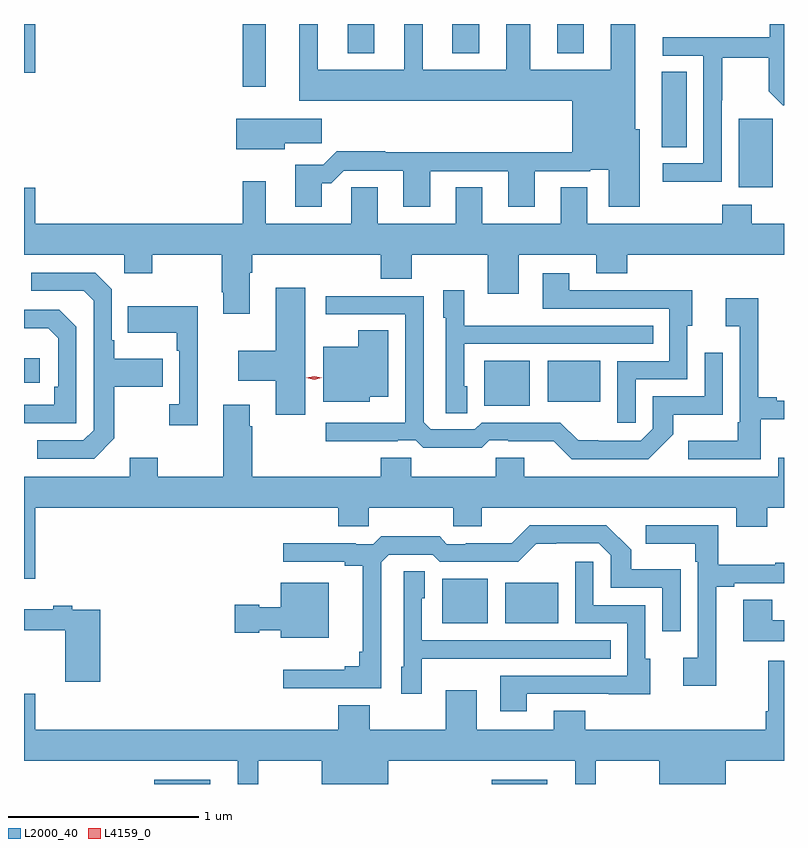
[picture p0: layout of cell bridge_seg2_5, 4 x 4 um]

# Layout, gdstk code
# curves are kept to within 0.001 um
import gdstk
lib = gdstk.Library(unit=1e-6, precision=1e-09)
def R(c, l, rs):  # rectangles x0, y0, x1, y1
    for r in rs: c.add(gdstk.rectangle(r[:2], r[2:], *l))
def A(c, l, x, y, w, h, nx, ny, dx, dy):  # array of equal rectangles
    R(c, l, [(x+i*dx, y+j*dy, x+i*dx+w, y+j*dy+h) for i in range(nx) for j in range(ny)])
def P(c, l, *ps):  # polygons
    for p in ps: c.add(gdstk.Polygon(p, *l))
L2000_40 = (2000, 40)
L4159_0 = (4159, 0)

bridge_seg2_5 = lib.new_cell('bridge_seg2_5')
A(bridge_seg2_5, L2000_40, 730.253, 663.347, 0.14, 0.155, 3, 1, 0.552, 0)
R(bridge_seg2_5, L2000_40, [(729.236,659.502,729.529,659.524), (731.012,659.502,731.305,659.524), (730.751,660.347,730.99,660.583), (731.084,660.347,731.362,660.562), (730.973,661.493,731.212,661.729), (731.306,661.514,731.584,661.729), (728.55,661.614,728.632,661.744), (732.311,662.642,732.49,663.003), (731.906,662.854,732.037,663.251), (729.702,663.171,729.823,663.502), (728.55,663.246,728.608,663.502)])
P(bridge_seg2_5, L2000_40, [(732.222,663.1),(732.225,663.1),(732.225,663.324),(732.469,663.324),(732.469,663.149),(732.546,663.072),(732.549,663.075),(732.55,663.074),(732.55,663.502),(732.474,663.502),(732.474,663.432),(731.913,663.432),(731.913,663.336),(732.126,663.336),(732.126,662.769),(731.913,662.769),(731.913,662.671),(732.222,662.671)],
  [(730.117,662.663),(730.166,662.663),(730.233,662.73),(730.547,662.73),(730.547,662.541),(730.687,662.541),(730.687,662.727),(731.099,662.727),(731.099,662.541),(731.239,662.541),(731.239,662.727),(731.531,662.727),(731.531,662.734),(731.627,662.734),(731.627,662.541),(731.791,662.541),(731.791,662.949),(731.767,662.949),(731.767,663.502),(731.639,663.502),(731.639,663.262),(731.215,663.262),(731.215,663.502),(731.087,663.502),(731.087,663.262),(730.648,663.262),(730.648,663.502),(730.55,663.502),(730.55,663.262),(730.096,663.262),(730.096,663.502),(729.998,663.502),(729.998,663.098),(731.435,663.098),(731.435,662.828),(730.451,662.828),(730.451,662.831),(730.196,662.831),(730.126,662.761),(729.977,662.761),(729.977,662.541),(730.117,662.541)],
  [(729.922,662.875),(730.117,662.875),(730.117,663.004),(729.668,663.004),(729.668,662.843),(729.922,662.843)],
  [(729.739,662.192),(729.752,662.192),(729.752,662.288),(730.427,662.288),(730.427,662.16),(730.591,662.16),(730.591,662.288),(730.991,662.288),(730.991,662.082),(731.155,662.082),(731.155,662.288),(731.561,662.288),(731.561,662.189),(731.725,662.189),(731.725,662.288),(732.55,662.288),(732.55,662.452),(732.381,662.452),(732.381,662.551),(732.226,662.551),(732.226,662.452),(731.515,662.452),(731.515,662.642),(731.375,662.642),(731.375,662.452),(730.963,662.452),(730.963,662.642),(730.823,662.642),(730.823,662.452),(730.411,662.452),(730.411,662.642),(730.272,662.642),(730.272,662.452),(729.823,662.452),(729.823,662.674),(729.702,662.674),(729.702,662.452),(728.608,662.452),(728.608,662.641),(728.55,662.641),(728.55,662.288),(729.078,662.288),(729.078,662.189),(729.225,662.189),(729.225,662.288),(729.592,662.288),(729.592,662.089),(729.599,662.089),(729.599,661.977),(729.739,661.977)],
  [(729.025,661.321),(729.025,661.594),(729.281,661.594),(729.281,661.741),(729.025,661.741),(729.025,661.837),(729.012,661.837),(729.012,662.106),(728.925,662.193),(728.589,662.193),(728.589,662.097),(728.865,662.097),(728.916,662.046),(728.916,661.365),(728.862,661.311),(728.619,661.311),(728.619,661.215),(728.919,661.215)],
  [(731.769,661.632),(732.042,661.632),(732.042,661.914),(732.067,661.914),(732.067,662.102),(731.849,662.102),(731.849,662.1),(731.419,662.1),(731.419,662.191),(731.279,662.191),(731.279,662.004),(731.946,662.004),(731.946,661.728),(731.673,661.728),(731.673,661.404),(731.769,661.404)],
  [(730.03,662.113),(729.875,662.113),(729.875,661.783),(729.678,661.783),(729.678,661.625),(729.875,661.625),(729.875,661.446),(730.03,661.446)],
  [(730.882,661.596),(730.866,661.596),(730.866,661.818),(731.861,661.818),(731.861,661.914),(731.183,661.914),(731.183,661.915),(730.866,661.915),(730.866,662.101),(730.757,662.101),(730.757,661.956),(730.77,661.956),(730.77,661.453),(730.882,661.453)],
  [(731.967,661.343),(731.967,661.445),(732.228,661.445),(732.228,661.771),(732.132,661.771),(732.132,661.542),(731.859,661.542),(731.859,661.371),(731.796,661.308),(731.572,661.308),(731.572,661.31),(731.468,661.31),(731.373,661.404),(730.959,661.404),(730.923,661.368),(730.692,661.368),(730.653,661.407),(730.653,662.07),(730.137,662.07),(730.137,661.974),(730.557,661.974),(730.556,661.404),(730.137,661.404),(730.137,661.307),(730.517,661.307),(730.517,661.311),(730.611,661.311),(730.651,661.272),(730.959,661.272),(730.998,661.311),(731.098,661.311),(731.098,661.307),(731.339,661.307),(731.433,661.212),(731.836,661.212)],
  [(732.427,661.421),(732.55,661.421),(732.55,661.518),(732.511,661.518),(732.511,661.537),(732.415,661.537),(732.415,662.059),(732.243,662.059),(732.243,661.91),(732.318,661.91),(732.318,661.405),(732.306,661.405),(732.306,661.309),(732.045,661.309),(732.045,661.212),(732.427,661.212)],
  [(729.464,662.017),(729.097,662.017),(729.097,661.877),(729.354,661.877),(729.354,661.781),(729.366,661.781),(729.366,661.502),(729.315,661.502),(729.315,661.389),(729.464,661.389)],
  [(728.826,661.908),(728.736,661.998),(728.55,661.998),(728.55,661.901),(728.677,661.901),(728.73,661.848),(728.73,661.594),(728.71,661.594),(728.71,661.497),(728.55,661.497),(728.55,661.401),(728.826,661.401)],
  [(730.371,661.541),(730.468,661.541),(730.468,661.889),(730.31,661.889),(730.31,661.804),(730.124,661.804),(730.124,661.514),(730.371,661.514)],
  [(728.608,660.956),(730.205,660.956),(730.205,660.858),(730.365,660.858),(730.365,660.956),(730.81,660.956),(730.81,660.858),(730.96,660.858),(730.96,660.956),(732.299,660.956),(732.299,660.857),(732.463,660.857),(732.463,660.956),(732.55,660.956),(732.55,661.219),(732.521,661.219),(732.521,661.12),(731.182,661.12),(731.182,661.218),(731.032,661.218),(731.032,661.12),(730.587,661.12),(730.587,661.218),(730.427,661.218),(730.427,661.12),(729.752,661.12),(729.752,661.385),(729.739,661.385),(729.739,661.498),(729.599,661.498),(729.599,661.12),(729.255,661.12),(729.255,661.219),(729.107,661.219),(729.107,661.12),(728.55,661.12),(728.55,660.582),(728.608,660.582)],
  [(730.431,660.669),(730.47,660.708),(730.701,660.708),(730.737,660.672),(731.151,660.672),(731.246,660.767),(731.574,660.768),(731.637,660.705),(731.637,660.534),(731.91,660.534),(731.91,660.306),(732.006,660.306),(732.006,660.631),(731.745,660.631),(731.745,660.734),(731.614,660.864),(731.211,660.864),(731.117,660.77),(730.876,660.77),(730.876,660.765),(730.776,660.765),(730.737,660.805),(730.429,660.805),(730.389,660.765),(730.295,660.765),(730.295,660.77),(729.915,660.77),(729.915,660.672),(730.238,660.672),(730.238,660.65),(730.334,660.65),(730.334,660.199),(730.315,660.199),(730.315,660.122),(730.238,660.122),(730.238,660.103),(729.915,660.103),(729.915,660.006),(730.431,660.006)],
  [(732.193,660.54),(732.289,660.54),(732.289,660.558),(732.55,660.558),(732.55,660.667),(732.503,660.667),(732.503,660.656),(732.205,660.656),(732.205,660.864),(731.823,660.864),(731.823,660.767),(732.084,660.767),(732.084,660.671),(732.096,660.671),(732.096,660.166),(732.021,660.166),(732.021,660.018),(732.193,660.018)],
  [(731.197,659.976),(731.627,659.976),(731.627,659.975),(731.845,659.975),(731.845,660.162),(731.82,660.162),(731.82,660.444),(731.547,660.444),(731.547,660.673),(731.451,660.673),(731.451,660.348),(731.724,660.348),(731.724,660.072),(731.057,660.072),(731.057,659.886),(731.197,659.886)],
  [(730.644,660.161),(730.961,660.161),(730.961,660.162),(731.639,660.162),(731.639,660.258),(730.644,660.258),(730.644,660.48),(730.66,660.48),(730.66,660.623),(730.548,660.623),(730.548,660.12),(730.535,660.12),(730.535,659.976),(730.644,659.976)],
  [(730.153,660.562),(729.902,660.562),(729.902,660.433),(729.789,660.433),(729.789,660.446),(729.66,660.446),(729.66,660.299),(729.789,660.299),(729.789,660.311),(729.902,660.311),(729.902,660.272),(730.153,660.272)],
  [(732.55,660.364),(732.487,660.364),(732.487,660.473),(732.335,660.473),(732.335,660.254),(732.55,660.254)],
  [(728.951,660.42),(728.804,660.42),(728.804,660.44),(728.704,660.44),(728.704,660.421),(728.55,660.421),(728.55,660.312),(728.768,660.312),(728.768,660.039),(728.951,660.039)],
  [(731.56,659.624),(731.894,659.624),(731.894,659.502),(732.244,659.502),(732.244,659.624),(732.55,659.624),(732.55,660.151),(732.467,660.151),(732.467,659.884),(732.455,659.884),(732.455,659.788),(731.503,659.788),(731.503,659.887),(731.339,659.887),(731.339,659.788),(730.933,659.788),(730.933,659.995),(730.769,659.995),(730.769,659.788),(730.369,659.788),(730.369,659.917),(730.205,659.917),(730.205,659.788),(728.608,659.788),(728.608,659.977),(728.55,659.977),(728.55,659.624),(729.674,659.624),(729.674,659.502),(729.784,659.502),(729.784,659.624),(730.118,659.624),(730.118,659.502),(730.468,659.502),(730.468,659.624),(731.45,659.624),(731.45,659.502),(731.56,659.502)])
P(bridge_seg2_5, L4159_0, [(730.077,661.63),(730.036,661.639),(730.036,661.639),(730.036,661.64),(730.077,661.649),(730.118,661.64),(730.118,661.64),(730.118,661.639)])

lib.write_gds('bridge_seg2_5.gds')
